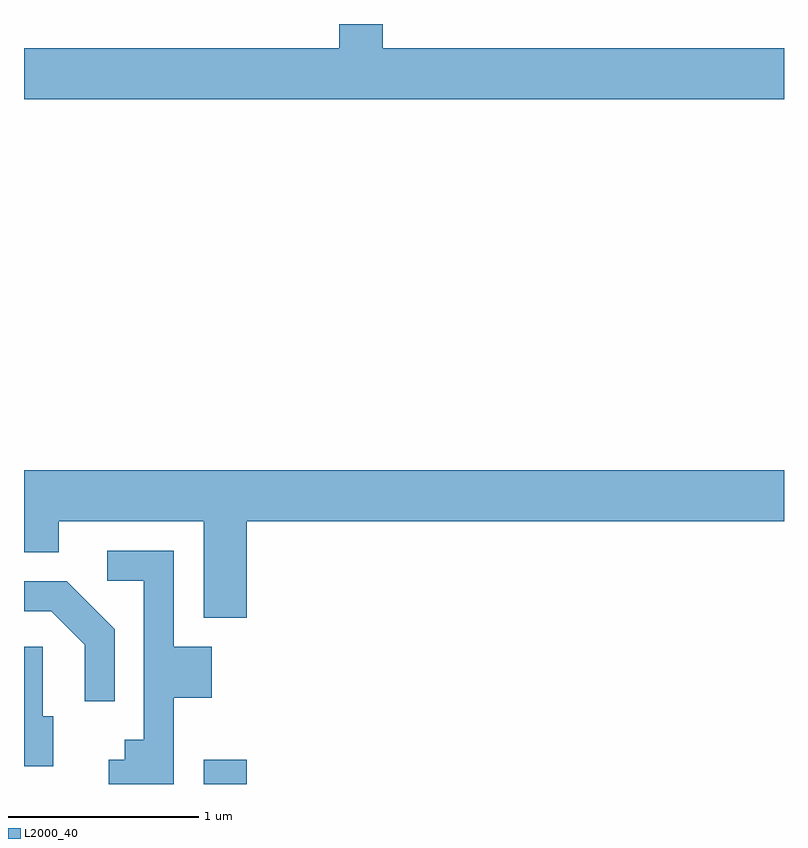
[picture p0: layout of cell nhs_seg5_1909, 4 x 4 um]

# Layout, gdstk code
import gdstk
lib = gdstk.Library(unit=1e-6, precision=1e-09)
def R(c, l, rs):  # rectangles x0, y0, x1, y1
    for r in rs: c.add(gdstk.rectangle(r[:2], r[2:], *l))
def P(c, l, *ps):  # polygons
    for p in ps: c.add(gdstk.Polygon(p, *l))
L2000_40 = (2000, 40)

nhs_seg5_1909 = lib.new_cell('nhs_seg5_1909')
R(nhs_seg5_1909, L2000_40, [(242.556,1462.072,242.784,1462.199)])
P(nhs_seg5_1909, L2000_40, [(245.611,1465.944),(243.499,1465.944),(243.499,1466.072),(243.271,1466.072),(243.271,1465.944),(241.611,1465.944),(241.611,1465.676),(245.611,1465.676)],
  [(242.784,1463.456),(245.611,1463.456),(245.611,1463.724),(241.611,1463.724),(241.611,1463.291),(241.794,1463.291),(241.794,1463.456),(242.556,1463.456),(242.556,1462.946),(242.784,1462.946)],
  [(242.399,1462.526),(242.599,1462.526),(242.599,1462.794),(242.399,1462.794),(242.399,1463.299),(242.048,1463.299),(242.048,1463.141),(242.241,1463.141),(242.241,1462.304),(242.141,1462.304),(242.141,1462.199),(242.056,1462.199),(242.056,1462.072),(242.399,1462.072)],
  [(242.089,1462.887),(241.837,1463.139),(241.611,1463.139),(241.611,1462.981),(241.754,1462.981),(241.931,1462.804),(241.931,1462.508),(242.089,1462.508)],
  [(241.764,1462.429),(241.709,1462.429),(241.709,1462.794),(241.611,1462.794),(241.611,1462.166),(241.764,1462.166)])

lib.write_gds('nhs_seg5_1909.gds')
